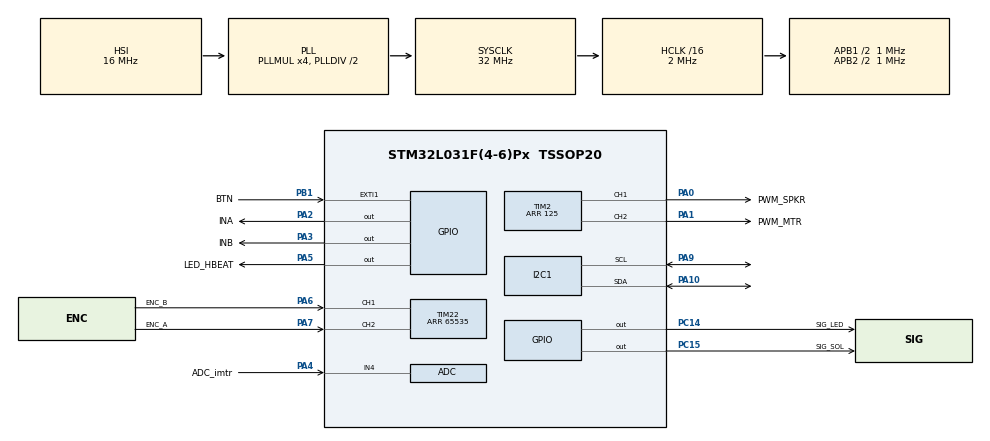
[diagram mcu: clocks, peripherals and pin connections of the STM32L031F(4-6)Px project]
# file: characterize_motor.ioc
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I2C1.Timing=0x00000103
Mcu.Family=STM32L0
Mcu.Name=STM32L031F(4-6)Px
Mcu.Package=TSSOP20
NVIC.EXTI0_1_IRQn=true\:0\:0\:false\:false\:true\:true\:true
NVIC.TIM21_IRQn=true\:0\:0\:false\:false\:true\:true\:true
PA0-CK_IN.GPIO_Label=PWM_SPKR
PA0-CK_IN.Signal=S_TIM2_CH1
PA1.GPIO_Label=PWM_MTR
PA1.Signal=S_TIM2_CH2
PA10.Mode=I2C
PA10.Signal=I2C1_SDA
PA13.Mode=Serial_Wire
PA13.Signal=SYS_SWDIO
PA14.Mode=Serial_Wire
PA14.Signal=SYS_SWCLK
PA2.GPIO_Label=INA
PA2.GPIO_Speed=GPIO_SPEED_FREQ_LOW
PA2.Signal=GPIO_Output
PA3.GPIO_Label=INB
PA3.Signal=GPIO_Output
PA4.GPIO_Label=ADC_imtr
PA4.Mode=IN4
PA4.Signal=ADC_IN4
PA5.GPIO_Label=LED_HBEAT
PA5.GPIO_ModeDefaultOutputPP=GPIO_MODE_OUTPUT_OD
PA5.GPIO_PuPd=GPIO_PULLUP
PA5.Signal=GPIO_Output
PA6.GPIO_Label=ENC_B
PA6.Signal=S_TIM22_CH1
PA7.GPIO_Label=ENC_A
PA7.Signal=S_TIM22_CH2
PA9.Mode=I2C
PA9.Signal=I2C1_SCL
PB1.GPIO_Label=BTN
PB1.GPIO_ModeDefaultEXTI=GPIO_MODE_IT_RISING
PB1.GPIO_PuPd=GPIO_PULLDOWN
PB1.Signal=GPXTI1
PC14-OSC32_IN.GPIO_Label=SIG_LED
PC14-OSC32_IN.GPIO_ModeDefaultOutputPP=GPIO_MODE_OUTPUT_OD
PC14-OSC32_IN.GPIO_PuPd=GPIO_PULLUP
PC14-OSC32_IN.Signal=GPIO_Output
PC15-OSC32_OUT.GPIO_Label=SIG_SOL
PC15-OSC32_OUT.GPIO_ModeDefaultOutputPP=GPIO_MODE_OUTPUT_OD
PC15-OSC32_OUT.GPIO_PuPd=GPIO_PULLUP
PC15-OSC32_OUT.Signal=GPIO_Output
ProjectManager.HeapSize=0x200
ProjectManager.StackSize=0x400
ProjectManager.TargetToolchain=STM32CubeIDE
RCC.AHBCLKDivider=RCC_SYSCLK_DIV16
RCC.AHBFreq_Value=2000000
RCC.APB1CLKDivider=RCC_HCLK_DIV2
RCC.APB1Freq_Value=1000000
RCC.APB1TimFreq_Value=2000000
RCC.APB2CLKDivider=RCC_HCLK_DIV2
RCC.APB2Freq_Value=1000000
RCC.APB2TimFreq_Value=2000000
RCC.HCLKFreq_Value=2000000
RCC.HSE_VALUE=8000000
RCC.HSI16_VALUE=16000000
RCC.HSI_VALUE=16000000
RCC.LSE_VALUE=32768
RCC.MSI_VALUE=2097000
RCC.PLLMUL=RCC_PLLMUL_4
RCC.SYSCLKFreq_VALUE=32000000
RCC.SYSCLKSource=RCC_SYSCLKSOURCE_PLLCLK
RCC.VCOOutputFreq_Value=64000000
SH.S_TIM22_CH1.0=TIM22_CH1,Encoder_Interface
SH.S_TIM22_CH2.0=TIM22_CH2,Encoder_Interface
SH.S_TIM2_CH1.0=TIM2_CH1,PWM Generation1 CH1
SH.S_TIM2_CH2.0=TIM2_CH2,PWM Generation2 CH2
TIM2.AutoReloadPreload=TIM_AUTORELOAD_PRELOAD_ENABLE
TIM2.Channel-PWM\ Generation1\ CH1=TIM_CHANNEL_1
TIM2.Channel-PWM\ Generation2\ CH2=TIM_CHANNEL_2
TIM2.ClockDivision=TIM_CLOCKDIVISION_DIV4
TIM2.CounterMode=TIM_COUNTERMODE_UP
TIM2.OC1Preload_PWM=ENABLE
TIM2.OC2Preload_PWM=DISABLE
TIM2.OCFastMode_PWM-PWM\ Generation2\ CH2=TIM_OCFAST_ENABLE
TIM2.OCMode_PWM-PWM\ Generation2\ CH2=TIM_OCMODE_PWM1
TIM2.Period=125
TIM2.Pulse-PWM\ Generation1\ CH1=0
TIM2.Pulse-PWM\ Generation2\ CH2=100
TIM21.AutoReloadPreload=TIM_AUTORELOAD_PRELOAD_ENABLE
TIM21.ClockDivision=TIM_CLOCKDIVISION_DIV1
TIM21.Period=1000
TIM21.TIM_MasterOutputTrigger=TIM_TRGO_RESET
TIM22.AutoReloadPreload=TIM_AUTORELOAD_PRELOAD_ENABLE
TIM22.ClockDivision=TIM_CLOCKDIVISION_DIV2
TIM22.EncoderMode=TIM_ENCODERMODE_TI1
TIM22.IC1Filter=2
TIM22.IC1Polarity=TIM_ICPOLARITY_FALLING
TIM22.IC1Prescaler=TIM_ICPSC_DIV1
TIM22.IC2Filter=2
TIM22.IC2Polarity=TIM_ICPOLARITY_FALLING
TIM22.IC2Prescaler=TIM_ICPSC_DIV1
TIM22.Period=65535
VP_TIM21_VS_ClockSourceINT.Mode=Internal
VP_TIM2_VS_ClockSourceINT.Mode=Internal
board=custom

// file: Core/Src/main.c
/* USER CODE BEGIN Header */
/**
  ******************************************************************************
  * @file           : main.c
  * @brief          : Main program body
  ******************************************************************************
  * @attention
  *
  * <h2><center>&copy; Copyright (c) 2021 STMicroelectronics.
  * All rights reserved.</center></h2>
  *
  * This software component is licensed by ST under BSD 3-Clause license,
  * the "License"; You may not use this file except in compliance with the
  * License. You may obtain a copy of the License at:
  *                        opensource.org/licenses/BSD-3-Clause
  *
  ******************************************************************************
  */
/* USER CODE END Header */

#include "main.h"

/* USER CODE BEGIN Includes */
#include "hardware.h"
#include "hardware.c"
/* USER CODE END Includes */

/* USER CODE BEGIN PD */
#define NUMTICKS 2000
/* USER CODE END PD */

ADC_HandleTypeDef hadc;

I2C_HandleTypeDef hi2c1;

TIM_HandleTypeDef htim2;
TIM_HandleTypeDef htim21;
TIM_HandleTypeDef htim22;

/* USER CODE BEGIN PV */
uint16_t tickLogNdx = 0;
uint16_t tickLog[NUMTICKS];
/* USER CODE END PV */

void SystemClock_Config(void);
static void MX_GPIO_Init(void);
static void MX_I2C1_Init(void);
static void MX_ADC_Init(void);
static void MX_TIM2_Init(void);
static void MX_TIM22_Init(void);
static void MX_TIM21_Init(void);

int main(void)
{
  __disable_irq();

  /* MCU Configuration--------------------------------------------------------*/

  /* Reset of all peripherals, Initializes the Flash interface and the Systick. */
  HAL_Init();

  /* USER CODE BEGIN Init */
  // Configure Ticks Counter
  HAL_SetTickFreq(HAL_TICK_FREQ_1KHZ);
  uint32_t ticksPerSec = 1000;
  uint32_t ticks_HBEAT = (uint32_t) (T_HBEAT*ticksPerSec);
  /* USER CODE END Init */

  /* Configure the system clock */
  SystemClock_Config();

  /* Initialize all configured peripherals */
  MX_GPIO_Init();
  MX_I2C1_Init();
  MX_ADC_Init();
  MX_TIM2_Init();
  MX_TIM22_Init();
  MX_TIM21_Init();

  /* Infinite loop */
  /* USER CODE BEGIN WHILE */
  HAL_TIM_Encoder_Start(&htim22,TIM_CHANNEL_ALL);
  HAL_GPIO_WritePin(LED_HBEAT_GPIO_Port, LED_HBEAT_Pin, GPIO_PIN_SET);  // startup blink
  HAL_GPIO_WritePin(LED_HBEAT_GPIO_Port, LED_HBEAT_Pin, GPIO_PIN_RESET);
  TIM2->CCR2 = TIM2->ARR;  // PWM 100% Duty Cycle
  __enable_irq();
  HAL_TIM_PWM_Start(&htim2,TIM_CHANNEL_2);  // after logging IRQ to catch startup
  MtrCW();
  while (1) {
    /* USER CODE END WHILE */
  }
}

void SystemClock_Config(void)
{
  RCC_OscInitTypeDef RCC_OscInitStruct = {0};
  RCC_ClkInitTypeDef RCC_ClkInitStruct = {0};
  RCC_PeriphCLKInitTypeDef PeriphClkInit = {0};

  /** Configure the main internal regulator output voltage
  */
  __HAL_PWR_VOLTAGESCALING_CONFIG(PWR_REGULATOR_VOLTAGE_SCALE1);
  /** Initializes the CPU, AHB and APB busses clocks
  */
  RCC_OscInitStruct.OscillatorType = RCC_OSCILLATORTYPE_HSI;
  RCC_OscInitStruct.HSIState = RCC_HSI_ON;
  RCC_OscInitStruct.HSICalibrationValue = RCC_HSICALIBRATION_DEFAULT;
  RCC_OscInitStruct.PLL.PLLState = RCC_PLL_ON;
  RCC_OscInitStruct.PLL.PLLSource = RCC_PLLSOURCE_HSI;
  RCC_OscInitStruct.PLL.PLLMUL = RCC_PLLMUL_4;
  RCC_OscInitStruct.PLL.PLLDIV = RCC_PLLDIV_2;
  if (HAL_RCC_OscConfig(&RCC_OscInitStruct) != HAL_OK)
  {
    Error_Handler();
  }
  /** Initializes the CPU, AHB and APB busses clocks
  */
  RCC_ClkInitStruct.ClockType = RCC_CLOCKTYPE_HCLK|RCC_CLOCKTYPE_SYSCLK
                              |RCC_CLOCKTYPE_PCLK1|RCC_CLOCKTYPE_PCLK2;
  RCC_ClkInitStruct.SYSCLKSource = RCC_SYSCLKSOURCE_PLLCLK;
  RCC_ClkInitStruct.AHBCLKDivider = RCC_SYSCLK_DIV16;
  RCC_ClkInitStruct.APB1CLKDivider = RCC_HCLK_DIV2;
  RCC_ClkInitStruct.APB2CLKDivider = RCC_HCLK_DIV2;

  if (HAL_RCC_ClockConfig(&RCC_ClkInitStruct, FLASH_LATENCY_0) != HAL_OK)
  {
    Error_Handler();
  }
  PeriphClkInit.PeriphClockSelection = RCC_PERIPHCLK_I2C1;
  PeriphClkInit.I2c1ClockSelection = RCC_I2C1CLKSOURCE_PCLK1;
  if (HAL_RCCEx_PeriphCLKConfig(&PeriphClkInit) != HAL_OK)
  {
    Error_Handler();
  }
}

static void MX_ADC_Init(void)
{

  ADC_ChannelConfTypeDef sConfig = {0};

  /** Configure the global features of the ADC (Clock, Resolution, Data Alignment and number of conversion)
  */
  hadc.Instance = ADC1;
  hadc.Init.OversamplingMode = DISABLE;
  hadc.Init.ClockPrescaler = ADC_CLOCK_SYNC_PCLK_DIV2;
  hadc.Init.Resolution = ADC_RESOLUTION_12B;
  hadc.Init.SamplingTime = ADC_SAMPLETIME_1CYCLE_5;
  hadc.Init.ScanConvMode = ADC_SCAN_DIRECTION_FORWARD;
  hadc.Init.DataAlign = ADC_DATAALIGN_RIGHT;
  hadc.Init.ContinuousConvMode = DISABLE;
  hadc.Init.DiscontinuousConvMode = DISABLE;
  hadc.Init.ExternalTrigConvEdge = ADC_EXTERNALTRIGCONVEDGE_NONE;
  hadc.Init.ExternalTrigConv = ADC_SOFTWARE_START;
  hadc.Init.DMAContinuousRequests = DISABLE;
  hadc.Init.EOCSelection = ADC_EOC_SINGLE_CONV;
  hadc.Init.Overrun = ADC_OVR_DATA_PRESERVED;
  hadc.Init.LowPowerAutoWait = DISABLE;
  hadc.Init.LowPowerFrequencyMode = DISABLE;
  hadc.Init.LowPowerAutoPowerOff = DISABLE;
  if (HAL_ADC_Init(&hadc) != HAL_OK)
  {
    Error_Handler();
  }
  /** Configure for the selected ADC regular channel to be converted.
  */
  sConfig.Channel = ADC_CHANNEL_4;
  sConfig.Rank = ADC_RANK_CHANNEL_NUMBER;
  if (HAL_ADC_ConfigChannel(&hadc, &sConfig) != HAL_OK)
  {
    Error_Handler();
  }

}

static void MX_I2C1_Init(void)
{

  hi2c1.Instance = I2C1;
  hi2c1.Init.Timing = 0x00000103;
  hi2c1.Init.OwnAddress1 = 0;
  hi2c1.Init.AddressingMode = I2C_ADDRESSINGMODE_7BIT;
  hi2c1.Init.DualAddressMode = I2C_DUALADDRESS_DISABLE;
  hi2c1.Init.OwnAddress2 = 0;
  hi2c1.Init.OwnAddress2Masks = I2C_OA2_NOMASK;
  hi2c1.Init.GeneralCallMode = I2C_GENERALCALL_DISABLE;
  hi2c1.Init.NoStretchMode = I2C_NOSTRETCH_DISABLE;
  if (HAL_I2C_Init(&hi2c1) != HAL_OK)
  {
    Error_Handler();
  }
  /** Configure Analogue filter
  */
  if (HAL_I2CEx_ConfigAnalogFilter(&hi2c1, I2C_ANALOGFILTER_ENABLE) != HAL_OK)
  {
    Error_Handler();
  }
  /** Configure Digital filter
  */
  if (HAL_I2CEx_ConfigDigitalFilter(&hi2c1, 0) != HAL_OK)
  {
    Error_Handler();
  }

}

static void MX_TIM2_Init(void)
{

  TIM_ClockConfigTypeDef sClockSourceConfig = {0};
  TIM_MasterConfigTypeDef sMasterConfig = {0};
  TIM_OC_InitTypeDef sConfigOC = {0};

  htim2.Instance = TIM2;
  htim2.Init.Prescaler = 0;
  htim2.Init.CounterMode = TIM_COUNTERMODE_UP;
  htim2.Init.Period = 125;
  htim2.Init.ClockDivision = TIM_CLOCKDIVISION_DIV4;
  htim2.Init.AutoReloadPreload = TIM_AUTORELOAD_PRELOAD_ENABLE;
  if (HAL_TIM_Base_Init(&htim2) != HAL_OK)
  {
    Error_Handler();
  }
  sClockSourceConfig.ClockSource = TIM_CLOCKSOURCE_INTERNAL;
  if (HAL_TIM_ConfigClockSource(&htim2, &sClockSourceConfig) != HAL_OK)
  {
    Error_Handler();
  }
  if (HAL_TIM_PWM_Init(&htim2) != HAL_OK)
  {
    Error_Handler();
  }
  sMasterConfig.MasterOutputTrigger = TIM_TRGO_RESET;
  sMasterConfig.MasterSlaveMode = TIM_MASTERSLAVEMODE_DISABLE;
  if (HAL_TIMEx_MasterConfigSynchronization(&htim2, &sMasterConfig) != HAL_OK)
  {
    Error_Handler();
  }
  sConfigOC.OCMode = TIM_OCMODE_PWM1;
  sConfigOC.Pulse = 0;
  sConfigOC.OCPolarity = TIM_OCPOLARITY_HIGH;
  sConfigOC.OCFastMode = TIM_OCFAST_DISABLE;
  if (HAL_TIM_PWM_ConfigChannel(&htim2, &sConfigOC, TIM_CHANNEL_1) != HAL_OK)
  {
    Error_Handler();
  }
  sConfigOC.Pulse = 100;
  sConfigOC.OCFastMode = TIM_OCFAST_ENABLE;
  if (HAL_TIM_PWM_ConfigChannel(&htim2, &sConfigOC, TIM_CHANNEL_2) != HAL_OK)
  {
    Error_Handler();
  }
  __HAL_TIM_DISABLE_OCxPRELOAD(&htim2, TIM_CHANNEL_2);
  HAL_TIM_MspPostInit(&htim2);

}

static void MX_TIM21_Init(void)
{

  TIM_ClockConfigTypeDef sClockSourceConfig = {0};
  TIM_MasterConfigTypeDef sMasterConfig = {0};

  htim21.Instance = TIM21;
  htim21.Init.Prescaler = 0;
  htim21.Init.CounterMode = TIM_COUNTERMODE_UP;
  htim21.Init.Period = 1000;
  htim21.Init.ClockDivision = TIM_CLOCKDIVISION_DIV1;
  htim21.Init.AutoReloadPreload = TIM_AUTORELOAD_PRELOAD_ENABLE;
  if (HAL_TIM_Base_Init(&htim21) != HAL_OK)
  {
    Error_Handler();
  }
  sClockSourceConfig.ClockSource = TIM_CLOCKSOURCE_INTERNAL;
  if (HAL_TIM_ConfigClockSource(&htim21, &sClockSourceConfig) != HAL_OK)
  {
    Error_Handler();
  }
  sMasterConfig.MasterOutputTrigger = TIM_TRGO_RESET;
  sMasterConfig.MasterSlaveMode = TIM_MASTERSLAVEMODE_DISABLE;
  if (HAL_TIMEx_MasterConfigSynchronization(&htim21, &sMasterConfig) != HAL_OK)
  {
    Error_Handler();
  }

}

static void MX_TIM22_Init(void)
{

  TIM_Encoder_InitTypeDef sConfig = {0};
  TIM_MasterConfigTypeDef sMasterConfig = {0};

  htim22.Instance = TIM22;
  htim22.Init.Prescaler = 0;
  htim22.Init.CounterMode = TIM_COUNTERMODE_UP;
  htim22.Init.Period = 65535;
  htim22.Init.ClockDivision = TIM_CLOCKDIVISION_DIV2;
  htim22.Init.AutoReloadPreload = TIM_AUTORELOAD_PRELOAD_ENABLE;
  sConfig.EncoderMode = TIM_ENCODERMODE_TI1;
  sConfig.IC1Polarity = TIM_ICPOLARITY_FALLING;
  sConfig.IC1Selection = TIM_ICSELECTION_DIRECTTI;
  sConfig.IC1Prescaler = TIM_ICPSC_DIV1;
  sConfig.IC1Filter = 2;
  sConfig.IC2Polarity = TIM_ICPOLARITY_FALLING;
  sConfig.IC2Selection = TIM_ICSELECTION_DIRECTTI;
  sConfig.IC2Prescaler = TIM_ICPSC_DIV1;
  sConfig.IC2Filter = 2;
  if (HAL_TIM_Encoder_Init(&htim22, &sConfig) != HAL_OK)
  {
    Error_Handler();
  }
  sMasterConfig.MasterOutputTrigger = TIM_TRGO_RESET;
  sMasterConfig.MasterSlaveMode = TIM_MASTERSLAVEMODE_DISABLE;
  if (HAL_TIMEx_MasterConfigSynchronization(&htim22, &sMasterConfig) != HAL_OK)
  {
    Error_Handler();
  }

}

static void MX_GPIO_Init(void)
{
  GPIO_InitTypeDef GPIO_InitStruct = {0};

  /* GPIO Ports Clock Enable */
  __HAL_RCC_GPIOC_CLK_ENABLE();
  __HAL_RCC_GPIOA_CLK_ENABLE();
  __HAL_RCC_GPIOB_CLK_ENABLE();

  /*Configure GPIO pin Output Level */
  HAL_GPIO_WritePin(GPIOC, SIG_LED_Pin|SIG_SOL_Pin, GPIO_PIN_RESET);

  /*Configure GPIO pin Output Level */
  HAL_GPIO_WritePin(GPIOA, INA_Pin|INB_Pin|LED_HBEAT_Pin, GPIO_PIN_RESET);

  /*Configure GPIO pins : SIG_LED_Pin SIG_SOL_Pin */
  GPIO_InitStruct.Pin = SIG_LED_Pin|SIG_SOL_Pin;
  GPIO_InitStruct.Mode = GPIO_MODE_OUTPUT_OD;
  GPIO_InitStruct.Pull = GPIO_PULLUP;
  GPIO_InitStruct.Speed = GPIO_SPEED_FREQ_LOW;
  HAL_GPIO_Init(GPIOC, &GPIO_InitStruct);

  /*Configure GPIO pins : INA_Pin INB_Pin */
  GPIO_InitStruct.Pin = INA_Pin|INB_Pin;
  GPIO_InitStruct.Mode = GPIO_MODE_OUTPUT_PP;
  GPIO_InitStruct.Pull = GPIO_NOPULL;
  GPIO_InitStruct.Speed = GPIO_SPEED_FREQ_LOW;
  HAL_GPIO_Init(GPIOA, &GPIO_InitStruct);

  /*Configure GPIO pin : LED_HBEAT_Pin */
  GPIO_InitStruct.Pin = LED_HBEAT_Pin;
  GPIO_InitStruct.Mode = GPIO_MODE_OUTPUT_OD;
  GPIO_InitStruct.Pull = GPIO_PULLUP;
  GPIO_InitStruct.Speed = GPIO_SPEED_FREQ_LOW;
  HAL_GPIO_Init(LED_HBEAT_GPIO_Port, &GPIO_InitStruct);

  /*Configure GPIO pin : BTN_Pin */
  GPIO_InitStruct.Pin = BTN_Pin;
  GPIO_InitStruct.Mode = GPIO_MODE_IT_RISING;
  GPIO_InitStruct.Pull = GPIO_PULLDOWN;
  HAL_GPIO_Init(BTN_GPIO_Port, &GPIO_InitStruct);

  /* EXTI interrupt init*/
  HAL_NVIC_SetPriority(EXTI0_1_IRQn, 0, 0);
  HAL_NVIC_EnableIRQ(EXTI0_1_IRQn);

}

/* USER CODE BEGIN 4 */
/**
 * @brief Logging timer htim21. Turn off PWM & timer isr when logging done
 */
void HAL_TIM_PeriodElapsedCallback(TIM_HandleTypeDef *htim)
{
  __disable_irq();
  if (htim==&htim21) {
    if (tickLogNdx < NUMTICKS) {
      tickLog[tickLogNdx] = TIM22->CNT;
      tickLogNdx++;
    } else {
      HAL_GPIO_WritePin(LED_HBEAT_GPIO_Port, LED_HBEAT_Pin, GPIO_PIN_SET);
      HAL_TIM_PWM_Stop(&htim2,TIM_CHANNEL_2);
      HAL_TIM_Base_Stop_IT(&htim21);
    }
  }
  __enable_irq();
}

/* USER CODE END 4 */

void Error_Handler(void)
{
  /* USER CODE BEGIN Error_Handler_Debug */
  /* User can add his own implementation to report the HAL error return state */
  __disable_irq();
  HAL_GPIO_WritePin(LED_HBEAT_GPIO_Port, LED_HBEAT_Pin, GPIO_PIN_RESET);
  HAL_TIM_PWM_Stop(&htim2,TIM_CHANNEL_ALL);
  while (1) {
    HAL_GPIO_WritePin(LED_HBEAT_GPIO_Port, LED_HBEAT_Pin, GPIO_PIN_SET);
    HAL_GPIO_WritePin(SIG_LED_GPIO_Port, SIG_SOL_Pin, GPIO_PIN_RESET);
    HAL_GPIO_WritePin(PWM_SPKR_GPIO_Port, PWM_SPKR_Pin, GPIO_PIN_RESET);
    HAL_GPIO_WritePin(PWM_MTR_GPIO_Port, PWM_MTR_Pin, GPIO_PIN_RESET);
    HAL_GPIO_WritePin(INA_GPIO_Port, INA_Pin, GPIO_PIN_RESET);
    HAL_GPIO_WritePin(INB_GPIO_Port, INB_Pin, GPIO_PIN_RESET);
  }
  /* USER CODE END Error_Handler_Debug */
}

/************************ (C) COPYRIGHT STMicroelectronics *****END OF FILE****/
